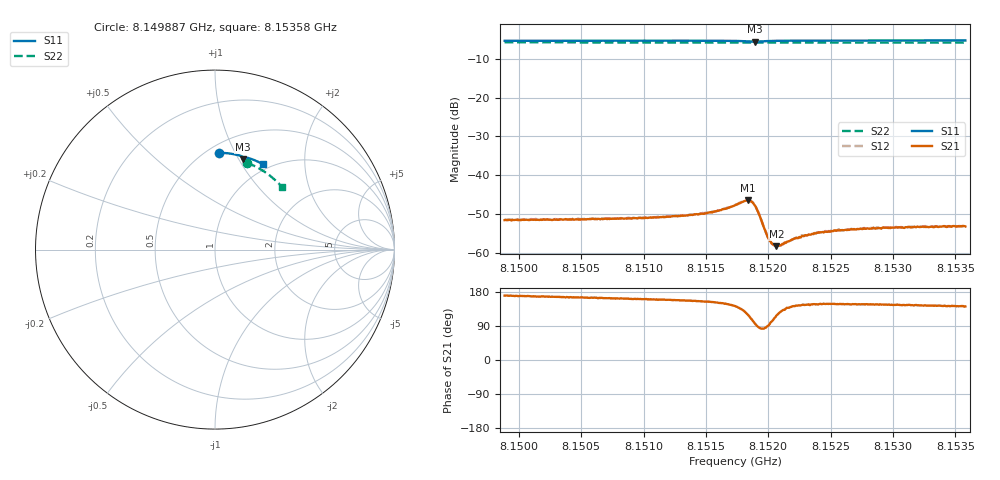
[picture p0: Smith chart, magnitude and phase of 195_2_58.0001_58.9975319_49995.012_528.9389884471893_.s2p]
#  HZ  S  RI  R  50.00
! Rohde & Schwarz Vector Network Analyzer
! Rohde-Schwarz,ZNB20-2Port,1311601062101988,3.16
! Created: UTC 3/21/2024, 12:59:00 AM
! freq[Hz]  re:S11  im:S11  re:S21  im:S21  re:S12  im:S12  re:S22  im:S22
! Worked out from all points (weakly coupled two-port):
!   401 points, 8.149887 GHz to 8.15358 GHz, reference 50 ohm
!   highest |S21| = -46.50 dB at 8.151835 GHz (marker M1); lowest = -58.3 dB at 8.152066 GHz (marker M2)
!   lowest |S11| = -5.6 dB at 8.15189 GHz (marker M3), VSWR 3.22, Z = 37.3 + j52 ohm
!   |S11| at or under -10 dB: nowhere
!   |S22| runs from -5.8 to -5.7 dB; largest |S21 - S12| = 0.00013
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8.1498865e9  0.023 0.5397  -0.0026 0.000458  -0.00261 0.000525  0.1794 0.4838
8.1505052e9  0.0663 0.5371  -0.00262 0.000682  -0.00261 0.000743  0.2161 0.4677
8.1511238e9  0.1096 0.5308  -0.00268 0.00101  -0.00272 0.00107  0.2513 0.4489
8.1514008e9  0.1294 0.5264  -0.00283 0.00126  -0.0028 0.00131  0.2665 0.4394
8.1514931e9  0.1363 0.5246  -0.00289 0.0014  -0.00293 0.00146  0.2714 0.4363
8.1516131e9  0.1454 0.5214  -0.00308 0.00174  -0.00307 0.00177  0.2779 0.432
8.1517331e9  0.1553 0.5159  -0.00325 0.00249  -0.0032 0.00261  0.2844 0.4275
8.1518347e9  0.1593 0.506  -0.00235 0.0041  -0.00234 0.00418  0.2894 0.4236
8.1518624e9  0.1573 0.5035  -0.00148 0.00433  -0.00145 0.00441  0.2907 0.4224
8.1518901e9  0.1543 0.5032  -0.00052 0.00408  -0.000453 0.00413  0.292 0.4215
8.1519178e9  0.1523 0.5054  0.000146 0.00335  0.000206 0.0034  0.2933 0.4207
8.1519824e9  0.1553 0.5118  0.000126 0.00179  0.000169 0.00183  0.2967 0.4185
8.1520101e9  0.1579 0.5134  -0.000109 0.00143  -0.000128 0.00148  0.2982 0.4175
8.1520378e9  0.1607 0.5141  -0.00034 0.00126  -0.000321 0.00122  0.2998 0.4165
8.1520655e9  0.1634 0.5144  -0.00056 0.00108  -0.000553 0.00113  0.3012 0.4154
8.1521209e9  0.1684 0.5142  -0.000872 0.000952  -0.000869 0.000996  0.3041 0.4135
8.152204e9  0.1753 0.513  -0.00119 0.000926  -0.00119 0.000939  0.3082 0.41
8.1522594e9  0.1796 0.512  -0.00128 0.000926  -0.00131 0.000969  0.3111 0.4078
8.1523518e9  0.1866 0.5102  -0.00147 0.000958  -0.0015 0.000961  0.3158 0.4041
8.1526195e9  0.2051 0.5039  -0.00167 0.00107  -0.00167 0.00108  0.3288 0.3932
8.1529704e9  0.2283 0.4946  -0.00175 0.00117  -0.00171 0.00119  0.3454 0.3779
8.1535797e9  0.2665 0.4762  -0.00171 0.00137  -0.00173 0.00139  0.3724 0.3503
